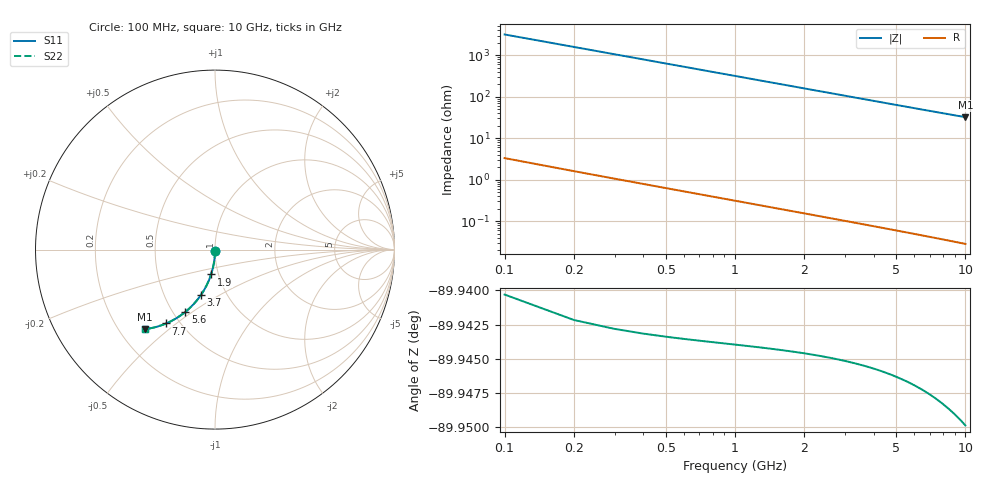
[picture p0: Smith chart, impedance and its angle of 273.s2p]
# Hz S RI R 50.00
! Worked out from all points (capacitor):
!   100 points, 100 MHz to 10 GHz, reference 50 ohm
!   read as one part in shunt: C = 501 fF near 100 MHz
!   lowest |Z| = 32.2 ohm at 10 GHz (marker M1)
!   S11 on the Smith chart (normalised r, x): 100 MHz: 1.00, -0.01; 1.9 GHz: 0.92, -0.26; 3.7 GHz: 0.76, -0.41; 5.6 GHz: 0.58, -0.47; 7.7 GHz: 0.42, -0.46; 10 GHz: 0.31, -0.42
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1e8  6.31e-05 -0.00743  0.9998 -0.0083  0.9998 -0.0083  6.31e-05 -0.00743
2e8  -0.000129 -0.0149  0.9996 -0.0166  0.9996 -0.0166  -0.000129 -0.0149
3e8  -0.000444 -0.0223  0.9993 -0.0249  0.9993 -0.0249  -0.000444 -0.0223
4e8  -0.000883 -0.0297  0.9988 -0.0332  0.9988 -0.0332  -0.000883 -0.0297
5e8  -0.00144 -0.0371  0.9983 -0.0415  0.9983 -0.0415  -0.00144 -0.0371
6e8  -0.00213 -0.0445  0.9976 -0.0497  0.9976 -0.0497  -0.00213 -0.0445
8e8  -0.00386 -0.0592  0.9958 -0.0662  0.9958 -0.0662  -0.00386 -0.0592
1.1e9  -0.00737 -0.0812  0.9923 -0.0907  0.9923 -0.0907  -0.00737 -0.0812
1.4e9  -0.0119 -0.1028  0.9877 -0.115  0.9877 -0.115  -0.0119 -0.1028
1.8e9  -0.0196 -0.1311  0.98 -0.1468  0.98 -0.1468  -0.0196 -0.1311
1.9e9  -0.0219 -0.1381  0.9777 -0.1547  0.9777 -0.1547  -0.0219 -0.1381
2.2e9  -0.0291 -0.1587  0.9704 -0.1779  0.9704 -0.1779  -0.0291 -0.1587
2.6e9  -0.0403 -0.1854  0.9592 -0.208  0.9592 -0.208  -0.0403 -0.1854
3.4e9  -0.0671 -0.2355  0.9322 -0.2652  0.9322 -0.2652  -0.0671 -0.2355
3.7e9  -0.0786 -0.2531  0.9206 -0.2854  0.9206 -0.2854  -0.0786 -0.2531
4.4e9  -0.1079 -0.2911  0.8911 -0.3296  0.8911 -0.3296  -0.1079 -0.2911
5.1e9  -0.1401 -0.3249  0.8586 -0.3696  0.8586 -0.3696  -0.1401 -0.3249
5.6e9  -0.1644 -0.3463  0.834 -0.3954  0.834 -0.3954  -0.1644 -0.3463
6.7e9  -0.2206 -0.3854  0.7773 -0.4443  0.7773 -0.4443  -0.2206 -0.3854
7.7e9  -0.2731 -0.4117  0.7243 -0.4797  0.7243 -0.4797  -0.2731 -0.4117
8.4e9  -0.3097 -0.4253  0.6872 -0.4997  0.6872 -0.4997  -0.3097 -0.4253
1e10  -0.3906 -0.4433  0.6051 -0.5324  0.6051 -0.5324  -0.3906 -0.4433
